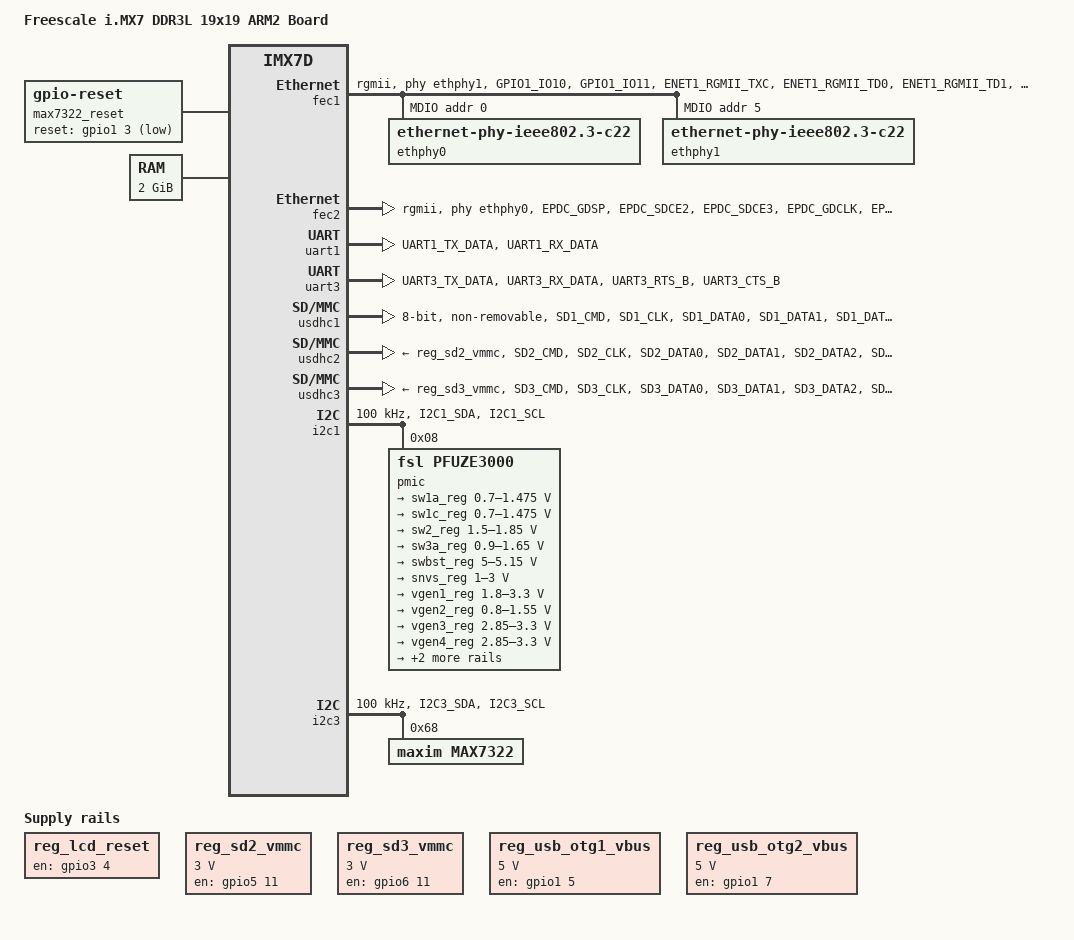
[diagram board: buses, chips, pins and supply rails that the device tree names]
/*
 * Copyright (C) 2015 Freescale Semiconductor, Inc.
 *
 * This program is free software; you can redistribute it and/or modify
 * it under the terms of the GNU General Public License version 2 as
 * published by the Free Software Foundation.
 */

/dts-v1/;

#include <dt-bindings/input/input.h>
#include "imx7d.dtsi"

/ {
	model = "Freescale i.MX7 DDR3L 19x19 ARM2 Board";
	compatible = "fsl,imx7d-19x19-ddr3-arm2", "fsl,imx7d";

	max7322_reset: max7322-reset {
		compatible = "gpio-reset";
		reset-gpios = <&gpio1 3 GPIO_ACTIVE_LOW>;
		reset-delay-us = <1>;
		#reset-cells = <0>;
	};

	gpio-keys {
		compatible = "gpio-keys";
		pinctrl-names = "default";
		pinctrl-0 = <&pinctrl_gpio_keys>;
		/* gpios disconnected see resistors R601, R583 */
		status = "disabled";

		volume-up {
			label = "Volume Up";
			gpios = <&gpio1 14 GPIO_ACTIVE_LOW>;
			linux,code = <KEY_VOLUMEUP>;
		};

		volume-down {
			label = "Volume Down";
			gpios = <&gpio1 15 GPIO_ACTIVE_LOW>;
			linux,code = <KEY_VOLUMEDOWN>;
		};
	};

	regulators {
		compatible = "simple-bus";
		#address-cells = <1>;
		#size-cells = <0>;

		reg_lcd_reset: lcd-reset {
			compatible = "regulator-fixed";
			regulator-name = "lcd-reset";
			gpio = <&gpio3 4 0>;
			enable-active-high;
		};

		reg_sd2_vmmc: sd2_vmmc{
			compatible = "regulator-fixed";
			regulator-name = "VCC_SD2";
			regulator-min-microvolt = <3000000>;
			regulator-max-microvolt = <3000000>;
			gpio = <&gpio5 11 GPIO_ACTIVE_HIGH>;
			enable-active-high;
		};

		reg_sd3_vmmc: sd3_vmmc {
			compatible = "regulator-fixed";
			regulator-name = "VCC_SD3";
			regulator-min-microvolt = <3000000>;
			regulator-max-microvolt = <3000000>;
			gpio = <&gpio6 11 GPIO_ACTIVE_HIGH>;
			enable-active-high;
		};

		reg_usb_otg1_vbus: regulator@0 {
			compatible = "regulator-fixed";
			reg = <0>;
			regulator-name = "usb_otg1_vbus";
			regulator-min-microvolt = <5000000>;
			regulator-max-microvolt = <5000000>;
			gpio = <&gpio1 5 GPIO_ACTIVE_HIGH>;
			enable-active-high;
		};

		reg_usb_otg2_vbus: regulator@1 {
			compatible = "regulator-fixed";
			reg = <1>;
			regulator-name = "usb_otg2_vbus";
			regulator-min-microvolt = <5000000>;
			regulator-max-microvolt = <5000000>;
			gpio = <&gpio1 7 GPIO_ACTIVE_HIGH>;
			enable-active-high;
		};
	};

	memory {
		reg = <0x80000000 0x80000000>;
	};
};

&fec1 {
	pinctrl-names = "default";
	pinctrl-0 = <&pinctrl_enet1>;
	pinctrl-assert-gpios = <&max7322 0 GPIO_ACTIVE_HIGH>;
	phy-mode = "rgmii";
	phy-handle = <&ethphy1>;
	fsl,magic-packet;
	status = "okay";

	mdio {
		#address-cells = <1>;
		#size-cells = <0>;

		ethphy0: ethernet-phy@0 {
			compatible = "ethernet-phy-ieee802.3-c22";
			reg = <0>;
		};

		ethphy1: ethernet-phy@5 {
			compatible = "ethernet-phy-ieee802.3-c22";
			reg = <5>;
		};
	};
};

&fec2 {
	pinctrl-names = "default";
	pinctrl-0 = <&pinctrl_enet2>;
	pinctrl-assert-gpios = <&max7322 0 GPIO_ACTIVE_HIGH>;
	phy-mode = "rgmii";
	phy-handle = <&ethphy0>;
	fsl,magic-packet;
	status = "okay";
};

&iomuxc {
	pinctrl-names = "default";
	pinctrl-0 = <&pinctrl_hog_1>;

	hog {
		pinctrl_hog_1: hoggrp-1 {
			fsl,pins = <
				MX7D_PAD_I2C4_SCL__GPIO4_IO14	   0x80000000

				MX7D_PAD_SD2_CD_B__GPIO5_IO9       0x17059
				MX7D_PAD_SD2_WP__GPIO5_IO10        0x17059
				MX7D_PAD_SD2_RESET_B__GPIO5_IO11   0x17059
				MX7D_PAD_GPIO1_IO12__GPIO1_IO12    0x17059
				MX7D_PAD_GPIO1_IO13__GPIO1_IO13    0x17059
				MX7D_PAD_GPIO1_IO14__GPIO1_IO14    0x17059
				MX7D_PAD_GPIO1_IO15__GPIO1_IO15    0x17059
				MX7D_PAD_SD3_RESET_B__GPIO6_IO11   0x17059
			>;
		};
	};
};

&uart1 {
	pinctrl-names = "default";
	pinctrl-0 = <&pinctrl_uart1_1>;
	status = "okay";
};

&uart3 {
	pinctrl-names = "default";
	pinctrl-0 = <&pinctrl_uart3_1>;
	fsl,uart-has-rtscts;
	status = "okay";
	/* for DTE mode, add below change */
	/* fsl,dte-mode;*/
	pinctrl-0 = <&pinctrl_uart3dte_1>;
};

&iomuxc_lpsr {
	pinctrl-names = "default";
	pinctrl-0 = <&pinctrl_hog_2>;

	hog {
		pinctrl_hog_2: hoggrp-2 {
			fsl,pins = <
				MX7D_PAD_GPIO1_IO03__GPIO1_IO3 0x80000000
				MX7D_PAD_GPIO1_IO07__GPIO1_IO7 0x80000000
			>;
		};
	};
};

&usdhc1 {
	pinctrl-names = "default";
	pinctrl-0 = <&pinctrl_usdhc1_1>;
	bus-width = <8>;
	non-removable;
	keep-power-in-suspend;
	status = "okay";
};

&usdhc2 {
	pinctrl-names = "default", "state_100mhz", "state_200mhz";
	pinctrl-0 = <&pinctrl_usdhc2_1>;
	pinctrl-1 = <&pinctrl_usdhc2_1_100mhz>;
	pinctrl-2 = <&pinctrl_usdhc2_1_200mhz>;
	cd-gpios = <&gpio5 9 0>;
	wp-gpios = <&gpio5 10 0>;
	keep-power-in-suspend;
	enable-sdio-wakeup;
	vmmc-supply = <&reg_sd2_vmmc>;
	status = "okay";
};

&usdhc3 {
	pinctrl-names = "default";
	pinctrl-0 = <&pinctrl_usdhc3_1>;
	cd-gpios = <&gpio1 14 0>;
	wp-gpios = <&gpio1 15 0>;
	keep-power-in-suspend;
	enable-sdio-wakeup;
	vmmc-supply = <&reg_sd3_vmmc>;
	status = "okay";
};

&iomuxc {
	enet1 {
		pinctrl_enet1: enet1grp {
			fsl,pins = <
				MX7D_PAD_GPIO1_IO10__ENET1_MDIO 0x3
				MX7D_PAD_GPIO1_IO11__ENET1_MDC  0x3
				MX7D_PAD_ENET1_RGMII_TXC__ENET1_RGMII_TXC 0x1
				MX7D_PAD_ENET1_RGMII_TD0__ENET1_RGMII_TD0 0x1
				MX7D_PAD_ENET1_RGMII_TD1__ENET1_RGMII_TD1 0x1
				MX7D_PAD_ENET1_RGMII_TD2__ENET1_RGMII_TD2 0x1
				MX7D_PAD_ENET1_RGMII_TD3__ENET1_RGMII_TD3 0x1
				MX7D_PAD_ENET1_RGMII_TX_CTL__ENET1_RGMII_TX_CTL 0x1
				MX7D_PAD_ENET1_RGMII_RXC__ENET1_RGMII_RXC 0x1
				MX7D_PAD_ENET1_RGMII_RD0__ENET1_RGMII_RD0 0x1
				MX7D_PAD_ENET1_RGMII_RD1__ENET1_RGMII_RD1 0x1
				MX7D_PAD_ENET1_RGMII_RD2__ENET1_RGMII_RD2 0x1
				MX7D_PAD_ENET1_RGMII_RD3__ENET1_RGMII_RD3 0x1
				MX7D_PAD_ENET1_RGMII_RX_CTL__ENET1_RGMII_RX_CTL 0x1
			>;
		};
	};

	enet2 {
		pinctrl_enet2: enet2grp {
			fsl,pins = <
				MX7D_PAD_EPDC_GDSP__ENET2_RGMII_TXC	0x1
				MX7D_PAD_EPDC_SDCE2__ENET2_RGMII_TD0	0x1
				MX7D_PAD_EPDC_SDCE3__ENET2_RGMII_TD1	0x1
				MX7D_PAD_EPDC_GDCLK__ENET2_RGMII_TD2	0x1
				MX7D_PAD_EPDC_GDOE__ENET2_RGMII_TD3	0x1
				MX7D_PAD_EPDC_GDRL__ENET2_RGMII_TX_CTL	0x1
				MX7D_PAD_EPDC_SDCE1__ENET2_RGMII_RXC	0x1
				MX7D_PAD_EPDC_SDCLK__ENET2_RGMII_RD0	0x1
				MX7D_PAD_EPDC_SDLE__ENET2_RGMII_RD1	0x1
				MX7D_PAD_EPDC_SDOE__ENET2_RGMII_RD2	0x1
				MX7D_PAD_EPDC_SDSHR__ENET2_RGMII_RD3	0x1
				MX7D_PAD_EPDC_SDCE0__ENET2_RGMII_RX_CTL	0x1
			>;
		};
	};

	gpio_keys {
		pinctrl_gpio_keys: gpio_keysgrp {
			fsl,pins = <
				MX7D_PAD_GPIO1_IO14__GPIO1_IO14 0x32
				MX7D_PAD_GPIO1_IO15__GPIO1_IO15 0x32
			>;
		};
	};

	i2c1 {
		pinctrl_i2c1_1: i2c1grp-1 {
			fsl,pins = <
				MX7D_PAD_I2C1_SDA__I2C1_SDA          0x4000007f
				MX7D_PAD_I2C1_SCL__I2C1_SCL          0x4000007f
			>;
		};

	};

	i2c2 {
		pinctrl_i2c2_1: i2c2grp-1 {
			fsl,pins = <
				MX7D_PAD_I2C2_SDA__I2C2_SDA          0x4000007f
				MX7D_PAD_I2C2_SCL__I2C2_SCL          0x4000007f
			>;
		};
	};

	i2c3 {
		pinctrl_i2c3_1: i2c3grp-1 {
			fsl,pins = <
				MX7D_PAD_I2C3_SDA__I2C3_SDA	     0x4000007f
				MX7D_PAD_I2C3_SCL__I2C3_SCL          0x4000007f
			>;
		};

	};

	i2c4 {
		pinctrl_i2c4_1: i2c4grp-1 {
			fsl,pins = <
				MX7D_PAD_I2C4_SDA__I2C4_SDA          0x4000007f
				MX7D_PAD_I2C4_SCL__I2C4_SCL          0x4000007f
			>;
		};
	};

	uart1 {
		pinctrl_uart1_1: uart1grp-1 {
			fsl,pins = <
				MX7D_PAD_UART1_TX_DATA__UART1_DCE_TX 0x79
				MX7D_PAD_UART1_RX_DATA__UART1_DCE_RX 0x79
			>;
		};

	};

	uart3 {
		pinctrl_uart3_1: uart3grp-1 {
			fsl,pins = <
				MX7D_PAD_UART3_TX_DATA__UART3_DCE_TX	0x79
				MX7D_PAD_UART3_RX_DATA__UART3_DCE_RX	0x79
				MX7D_PAD_UART3_CTS_B__UART3_DCE_CTS	0x79
				MX7D_PAD_UART3_RTS_B__UART3_DCE_RTS	0x79
			>;
		};

		pinctrl_uart3dte_1: uart3dtegrp-1 {
			fsl,pins = <
				MX7D_PAD_UART3_TX_DATA__UART3_DTE_RX	0x79
				MX7D_PAD_UART3_RX_DATA__UART3_DTE_TX	0x79
				MX7D_PAD_UART3_RTS_B__UART3_DTE_CTS	0x79
				MX7D_PAD_UART3_CTS_B__UART3_DTE_RTS	0x79
			>;
		};
	};

	usdhc1 {
		pinctrl_usdhc1_1: usdhc1grp-1 {
			fsl,pins = <
				MX7D_PAD_SD1_CMD__SD1_CMD       0x17059
				MX7D_PAD_SD1_CLK__SD1_CLK       0x17059
				MX7D_PAD_SD1_DATA0__SD1_DATA0   0x17059
				MX7D_PAD_SD1_DATA1__SD1_DATA1   0x17059
				MX7D_PAD_SD1_DATA2__SD1_DATA2   0x17059
				MX7D_PAD_SD1_DATA3__SD1_DATA3   0x17059
				MX7D_PAD_ECSPI2_SCLK__SD1_DATA4 0x17059
				MX7D_PAD_ECSPI2_MOSI__SD1_DATA5 0x17059
				MX7D_PAD_ECSPI2_MISO__SD1_DATA6 0x17059
				MX7D_PAD_ECSPI2_SS0__SD1_DATA7  0x17059
			>;
		};
	};

	usdhc2 {
		pinctrl_usdhc2_1: usdhc2grp-1 {
			fsl,pins = <
				MX7D_PAD_SD2_CMD__SD2_CMD     0x17059
				MX7D_PAD_SD2_CLK__SD2_CLK     0x10059
				MX7D_PAD_SD2_DATA0__SD2_DATA0 0x17059
				MX7D_PAD_SD2_DATA1__SD2_DATA1 0x17059
				MX7D_PAD_SD2_DATA2__SD2_DATA2 0x17059
				MX7D_PAD_SD2_DATA3__SD2_DATA3 0x17059
			>;
		};

		pinctrl_usdhc2_1_100mhz: usdhc2grp-1_100mhz {
			fsl,pins = <
				MX7D_PAD_SD2_CMD__SD2_CMD     0x170b9
				MX7D_PAD_SD2_CLK__SD2_CLK     0x100b9
				MX7D_PAD_SD2_DATA0__SD2_DATA0 0x170b9
				MX7D_PAD_SD2_DATA1__SD2_DATA1 0x170b9
				MX7D_PAD_SD2_DATA2__SD2_DATA2 0x170b9
				MX7D_PAD_SD2_DATA3__SD2_DATA3 0x170b9
			>;
		};

		pinctrl_usdhc2_1_200mhz: usdhc2grp-1_200mhz {
			fsl,pins = <
				MX7D_PAD_SD2_CMD__SD2_CMD     0x170f9
				MX7D_PAD_SD2_CLK__SD2_CLK     0x100f9
				MX7D_PAD_SD2_DATA0__SD2_DATA0 0x170f9
				MX7D_PAD_SD2_DATA1__SD2_DATA1 0x170f9
				MX7D_PAD_SD2_DATA2__SD2_DATA2 0x170f9
				MX7D_PAD_SD2_DATA3__SD2_DATA3 0x170f9
			>;
		};
	};

	usdhc3 {
		pinctrl_usdhc3_1: usdhc3grp-1 {
			fsl,pins = <
				MX7D_PAD_SD3_CMD__SD3_CMD     0x170f9
				MX7D_PAD_SD3_CLK__SD3_CLK     0x170f9
				MX7D_PAD_SD3_DATA0__SD3_DATA0 0x170f9
				MX7D_PAD_SD3_DATA1__SD3_DATA1 0x170f9
				MX7D_PAD_SD3_DATA2__SD3_DATA2 0x170f9
				MX7D_PAD_SD3_DATA3__SD3_DATA3 0x170f9
			>;
		};
	};
};

&i2c1 {
	clock-frequency = <100000>;
	pinctrl-names = "default";
	pinctrl-0 = <&pinctrl_i2c1_1>;
	status = "okay";

	pmic: pfuze3000@08 {
		compatible = "fsl,pfuze3000";
		reg = <0x08>;

		regulators {
			sw1a_reg: sw1a {
				regulator-min-microvolt = <700000>;
				regulator-max-microvolt = <1475000>;
				regulator-boot-on;
				regulator-always-on;
				regulator-ramp-delay = <6250>;
			};
			/* use sw1c_reg to align with pfuze100/pfuze200 */
			sw1c_reg: sw1b {
				regulator-min-microvolt = <700000>;
				regulator-max-microvolt = <1475000>;
				regulator-boot-on;
				regulator-always-on;
				regulator-ramp-delay = <6250>;
			};

			sw2_reg: sw2 {
				regulator-min-microvolt = <1500000>;
				regulator-max-microvolt = <1850000>;
				regulator-boot-on;
				regulator-always-on;
			};

			sw3a_reg: sw3 {
				regulator-min-microvolt = <900000>;
				regulator-max-microvolt = <1650000>;
				regulator-boot-on;
				regulator-always-on;
			};

			swbst_reg: swbst {
				regulator-min-microvolt = <5000000>;
				regulator-max-microvolt = <5150000>;
			};

			snvs_reg: vsnvs {
				regulator-min-microvolt = <1000000>;
				regulator-max-microvolt = <3000000>;
				regulator-boot-on;
				regulator-always-on;
			};

			vref_reg: vrefddr {
				regulator-boot-on;
				regulator-always-on;
			};

			vgen1_reg: vldo1 {
				regulator-min-microvolt = <1800000>;
				regulator-max-microvolt = <3300000>;
				regulator-always-on;
			};

			vgen2_reg: vldo2 {
				regulator-min-microvolt = <800000>;
				regulator-max-microvolt = <1550000>;
			};

			vgen3_reg: vccsd {
				regulator-min-microvolt = <2850000>;
				regulator-max-microvolt = <3300000>;
				regulator-always-on;
			};

			vgen4_reg: v33 {
				regulator-min-microvolt = <2850000>;
				regulator-max-microvolt = <3300000>;
				regulator-always-on;
			};

			vgen5_reg: vldo3 {
				regulator-min-microvolt = <1800000>;
				regulator-max-microvolt = <3300000>;
				regulator-always-on;
			};

			vgen6_reg: vldo4 {
				regulator-min-microvolt = <1800000>;
				regulator-max-microvolt = <3300000>;
				regulator-always-on;
			};
		};
	};
};

&sdma {
	status = "okay";
};

&i2c3 {
	clock-frequency = <100000>;
	pinctrl-names = "default";
	pinctrl-0 = <&pinctrl_i2c3_1>;
	status = "okay";

	max7322: gpio@68 {
		compatible = "maxim,max7322";
		reg = <0x68>;
		gpio-controller;
		#gpio-cells = <2>;
		resets = <&max7322_reset>;
	};
};
